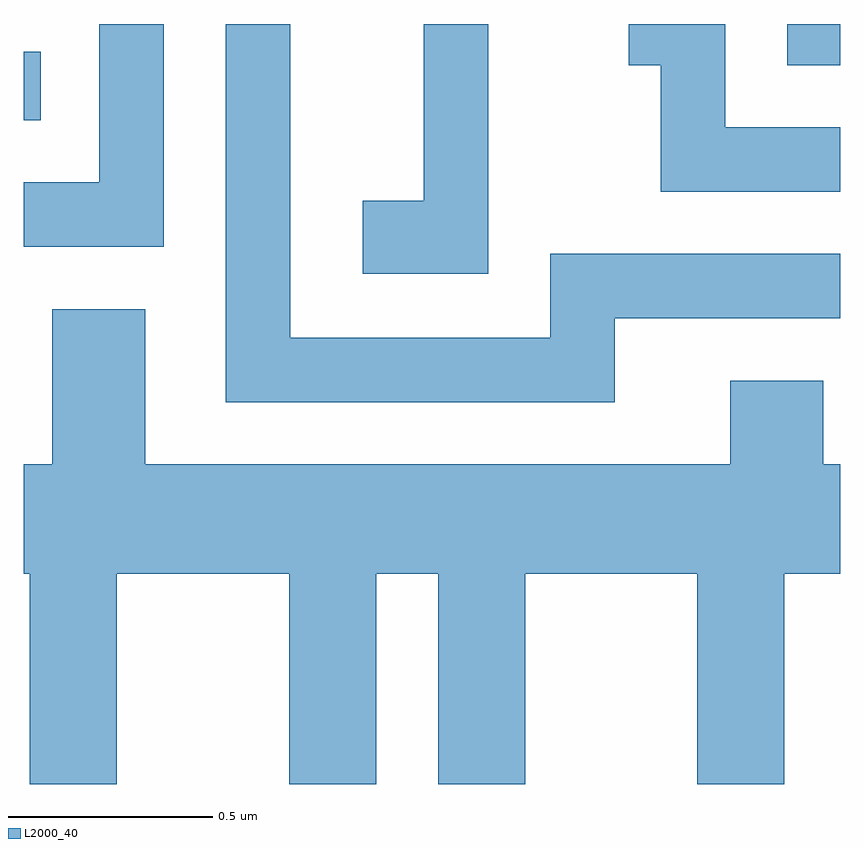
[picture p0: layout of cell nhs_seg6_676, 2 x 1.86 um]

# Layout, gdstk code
import gdstk
lib = gdstk.Library(unit=1e-6, precision=1e-09)
def R(c, l, rs):  # rectangles x0, y0, x1, y1
    for r in rs: c.add(gdstk.rectangle(r[:2], r[2:], *l))
def P(c, l, *ps):  # polygons
    for p in ps: c.add(gdstk.Polygon(p, *l))
L2000_40 = (2000, 40)

nhs_seg6_676 = lib.new_cell('nhs_seg6_676')
R(nhs_seg6_676, L2000_40, [(189.611,1659.926,189.653,1660.094), (191.481,1660.061,191.611,1660.162)])
P(nhs_seg6_676, L2000_40, [(191.611,1659.909),(191.329,1659.909),(191.329,1660.162),(191.093,1660.162),(191.093,1660.061),(191.171,1660.061),(191.171,1659.751),(191.611,1659.751)],
  [(189.954,1660.162),(189.796,1660.162),(189.796,1659.774),(189.611,1659.774),(189.611,1659.616),(189.954,1659.616)],
  [(190.749,1660.162),(190.591,1660.162),(190.591,1659.729),(190.441,1659.729),(190.441,1659.551),(190.749,1659.551)],
  [(191.059,1659.441),(191.611,1659.441),(191.611,1659.599),(190.901,1659.599),(190.901,1659.394),(190.264,1659.394),(190.264,1660.162),(190.106,1660.162),(190.106,1659.236),(191.059,1659.236)],
  [(189.839,1658.816),(190.261,1658.816),(190.261,1658.301),(190.474,1658.301),(190.474,1658.816),(190.626,1658.816),(190.626,1658.301),(190.839,1658.301),(190.839,1658.816),(191.261,1658.816),(191.261,1658.301),(191.474,1658.301),(191.474,1658.816),(191.611,1658.816),(191.611,1659.084),(191.569,1659.084),(191.569,1659.289),(191.341,1659.289),(191.341,1659.084),(189.909,1659.084),(189.909,1659.464),(189.681,1659.464),(189.681,1659.084),(189.611,1659.084),(189.611,1658.816),(189.626,1658.816),(189.626,1658.301),(189.839,1658.301)])

lib.write_gds('nhs_seg6_676.gds')
